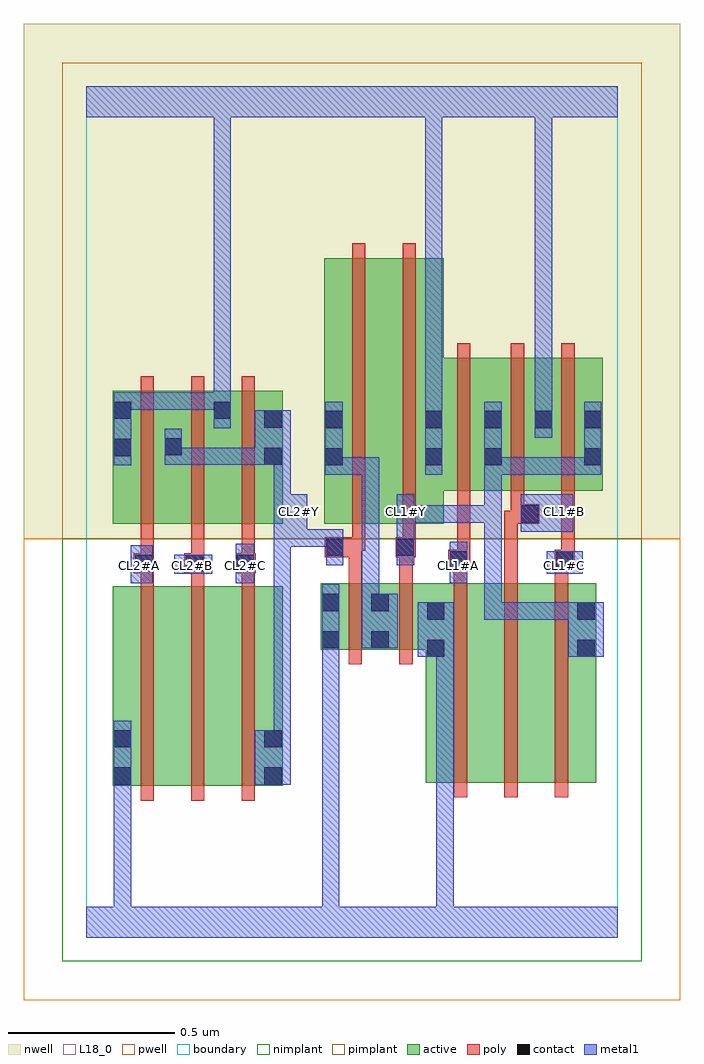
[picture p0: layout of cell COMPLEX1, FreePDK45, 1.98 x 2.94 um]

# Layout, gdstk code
import gdstk
lib = gdstk.Library(unit=1e-6, precision=1e-09)
def R(c, l, rs):  # rectangles x0, y0, x1, y1
    for r in rs: c.add(gdstk.rectangle(r[:2], r[2:], *l))
def A(c, l, x, y, w, h, nx, ny, dx, dy):  # array of equal rectangles
    R(c, l, [(x+i*dx, y+j*dy, x+i*dx+w, y+j*dy+h) for i in range(nx) for j in range(ny)])
active = (1, 0)
pwell = (2, 0)
nwell = (3, 0)
nimplant = (4, 0)
pimplant = (5, 0)
poly = (9, 0)
contact = (10, 0)
metal1 = (11, 0)
L18_0 = (18, 0)
boundary = (235, 0)

complex1 = lib.new_cell('COMPLEX1')
R(complex1, active, [(0.08,0.456,0.26,1.056), (0.08,0.456,0.14,1.056), (0.26,0.456,0.412,1.056), (0.412,0.456,0.592,1.056), (0.532,0.456,0.592,1.056), (1.022,0.466,1.202,1.066), (1.022,0.466,1.082,1.066), (1.202,0.466,1.354,1.066), (1.354,0.466,1.534,1.066), (1.474,0.556,1.534,1.066), (0.706,0.866,0.766,1.066), (0.706,0.866,0.914,1.066), (0.854,0.866,1.082,1.066), (0.854,0.866,0.914,1.066), (0.08,1.244,0.14,1.644), (0.08,1.244,0.292,1.644), (0.232,1.244,0.292,1.644), (0.232,1.244,0.44,1.644), (0.38,1.244,0.44,1.644), (0.38,1.244,0.592,1.644), (0.532,1.244,0.592,1.644), (0.716,1.244,0.896,2.044), (0.716,1.244,0.776,2.044), (0.896,1.244,1.076,2.044), (1.016,1.344,1.254,1.744), (1.016,1.344,1.076,1.8), (1.194,1.344,1.406,1.744), (1.346,1.344,1.554,1.744), (1.494,1.344,1.554,1.744), (1.194,1.394,1.254,1.744), (1.346,1.504,1.406,1.744)])
R(complex1, pwell, [(-0.188,-0.188,1.788,1.2)])
R(complex1, nwell, [(-0.188,1.2,1.788,2.748)])
R(complex1, nimplant, [(-0.072,-0.072,1.672,1.2)])
R(complex1, pimplant, [(-0.072,1.2,1.672,2.632)])
A(complex1, poly, 0.164, 0.412, 0.04, 0.688, 3, 1, 0.152, 0)
A(complex1, poly, 1.106, 0.422, 0.04, 0.688, 3, 1, 0.152, 0)
A(complex1, poly, 0.164, 1.06, 0.04, 0.076, 3, 1, 0.152, 0)
A(complex1, poly, 0.164, 1.116, 0.04, 0.124, 3, 1, 0.152, 0)
A(complex1, poly, 0.164, 1.2, 0.04, 0.488, 3, 1, 0.152, 0)
R(complex1, poly, [(0.79,0.822,0.83,1.11), (0.942,0.822,0.982,1.11), (0.79,1.07,0.83,1.184), (0.942,1.07,0.982,1.184), (1.106,1.07,1.146,1.146), (1.258,1.07,1.298,1.284), (1.41,1.07,1.45,1.146), (0.144,1.096,0.204,1.156), (0.296,1.096,0.356,1.156), (0.316,1.096,0.356,1.136), (0.316,1.096,0.356,1.136), (0.45,1.096,0.51,1.156), (0.468,1.096,0.508,1.136), (0.468,1.096,0.508,1.136), (1.09,1.106,1.15,1.166), (1.41,1.106,1.47,1.166), (0.164,1.116,0.204,1.156), (0.164,1.116,0.204,1.156), (1.11,1.126,1.15,1.166), (1.11,1.126,1.156,1.166), (1.116,1.126,1.156,1.34), (1.43,1.126,1.47,1.34), (1.43,1.126,1.47,1.166), (1.43,1.126,1.47,1.166), (0.718,1.144,0.83,1.204), (0.932,1.144,0.992,1.204), (0.942,1.144,0.982,1.184), (0.942,1.144,0.982,1.184), (0.79,1.164,0.83,1.204), (0.79,1.164,0.84,1.204), (0.8,1.164,0.84,1.24), (0.952,1.164,0.992,1.24), (0.8,1.2,0.84,2.088), (0.952,1.2,0.992,2.088), (1.258,1.244,1.318,1.284), (1.278,1.244,1.318,1.284), (1.278,1.244,1.364,1.304), (1.278,1.264,1.318,1.34), (1.116,1.3,1.156,1.788), (1.278,1.3,1.318,1.788), (1.43,1.3,1.47,1.788)])
R(complex1, contact, [(0.084,0.46,0.136,0.512), (0.536,0.46,0.588,0.512), (0.084,0.572,0.136,0.624), (0.536,0.572,0.588,0.624), (1.026,0.844,1.078,0.896), (1.478,0.844,1.53,0.896), (0.71,0.87,0.762,0.922), (0.858,0.87,0.91,0.922), (1.026,0.956,1.078,1.008), (1.478,0.956,1.53,1.008), (0.71,0.982,0.762,1.034), (0.858,0.982,0.91,1.034), (0.148,1.1,0.2,1.152), (0.3,1.1,0.352,1.152), (0.454,1.1,0.506,1.152), (1.094,1.11,1.146,1.162), (1.414,1.11,1.466,1.162), (0.722,1.148,0.774,1.2), (0.936,1.148,0.988,1.2), (1.308,1.248,1.36,1.3), (0.72,1.42,0.772,1.472), (1.02,1.42,1.072,1.472), (1.198,1.42,1.25,1.472), (1.498,1.42,1.55,1.472), (0.536,1.422,0.588,1.474), (0.084,1.448,0.136,1.5), (0.236,1.45,0.288,1.502), (0.72,1.532,0.772,1.584), (1.02,1.532,1.072,1.584), (1.198,1.532,1.25,1.584), (1.35,1.532,1.402,1.584), (1.498,1.532,1.55,1.584), (0.536,1.534,0.588,1.586), (0.084,1.56,0.136,1.612), (0.384,1.56,0.436,1.612)])
R(complex1, metal1, [(0,0,1.6,0.092), (0.084,0.04,0.136,0.092), (0.084,0.04,0.136,0.092), (0.084,0.04,0.136,0.092), (0.084,0.04,0.136,0.092), (0.084,0.04,0.136,0.484), (0.71,0.04,0.762,0.092), (0.71,0.04,0.762,0.092), (0.71,0.04,0.762,0.092), (0.71,0.04,0.762,0.092), (0.71,0.04,0.762,0.092), (0.71,0.04,0.762,0.092), (0.71,0.04,0.762,0.092), (0.71,0.04,0.762,0.092), (0.71,0.04,0.762,0.092), (0.71,0.04,0.762,0.092), (0.71,0.04,0.762,0.092), (0.71,0.04,0.762,0.092), (0.71,0.04,0.762,0.894), (1.054,0.04,1.106,0.092), (1.054,0.04,1.106,0.092), (1.054,0.04,1.106,0.092), (1.054,0.04,1.106,0.092), (1.054,0.04,1.106,0.092), (1.054,0.04,1.106,0.092), (1.054,0.04,1.106,0.896), (0.084,0.432,0.136,0.484), (0.084,0.432,0.136,0.484), (0.084,0.432,0.136,0.484), (0.084,0.432,0.136,0.484), (0.084,0.432,0.136,0.652), (0.508,0.46,0.616,0.624), (0.564,0.572,0.616,1.228), (0.71,0.842,0.762,0.894), (0.71,0.842,0.762,0.894), (0.71,0.842,0.762,0.894), (0.71,0.842,0.762,0.894), (0.71,0.842,0.762,1.062), (0.998,0.844,1.106,1.008), (1.054,0.844,1.106,0.896), (1.054,0.844,1.106,0.896), (1.45,0.844,1.558,1.008), (0.83,0.87,0.938,1.034), (1.198,0.956,1.25,1.008), (1.198,0.956,1.256,1.008), (1.198,0.956,1.25,1.3), (1.204,0.956,1.256,1.008), (1.204,0.956,1.366,1.008), (1.314,0.956,1.366,1.008), (1.314,0.956,1.366,1.008), (1.314,0.956,1.366,1.008), (1.314,0.956,1.502,1.008), (0.83,0.982,0.882,1.034), (0.83,0.982,0.882,1.034), (0.83,0.982,0.882,1.444), (0.134,1.066,0.2,1.18), (0.45,1.066,0.506,1.184), (1.094,1.066,1.146,1.19), (0.266,1.094,0.38,1.152), (1.386,1.094,1.494,1.162), (0.722,1.12,0.774,1.228), (0.934,1.12,0.988,1.334), (0.564,1.176,0.666,1.334), (0.614,1.176,0.666,1.228), (0.614,1.176,0.666,1.228), (0.614,1.176,0.774,1.228), (1.308,1.22,1.466,1.334), (0.936,1.248,1.14,1.3), (1.088,1.248,1.14,1.3), (1.088,1.248,1.14,1.3), (1.088,1.248,1.14,1.3), (1.088,1.248,1.25,1.3), (1.198,1.248,1.25,1.3), (1.198,1.248,1.25,1.3), (1.198,1.248,1.25,1.3), (1.198,1.248,1.25,1.444), (0.564,1.282,0.616,1.334), (0.564,1.282,0.616,1.334), (0.564,1.282,0.616,1.474), (0.72,1.392,0.772,1.444), (0.72,1.392,0.772,1.444), (0.72,1.392,0.772,1.612), (0.72,1.392,0.776,1.444), (0.724,1.392,0.776,1.444), (0.724,1.392,0.882,1.444), (0.83,1.392,0.882,1.444), (1.02,1.392,1.072,1.612), (1.198,1.392,1.25,1.612), (1.198,1.392,1.256,1.444), (1.204,1.392,1.256,1.444), (1.204,1.392,1.392,1.444), (1.34,1.392,1.392,1.444), (1.34,1.392,1.55,1.444), (1.498,1.392,1.55,1.444), (1.498,1.392,1.55,1.444), (1.498,1.392,1.55,1.612), (0.084,1.42,0.136,1.64), (0.236,1.422,0.288,1.474), (0.236,1.422,0.288,1.474), (0.236,1.422,0.288,1.53), (0.236,1.422,0.398,1.474), (0.346,1.422,0.398,1.474), (0.346,1.422,0.398,1.474), (0.346,1.422,0.398,1.474), (0.346,1.422,0.56,1.474), (0.508,1.422,0.616,1.586), (1.35,1.504,1.402,1.612), (0.384,1.532,0.436,1.64), (1.02,1.56,1.072,2.52), (1.35,1.56,1.402,1.612), (1.35,1.56,1.402,1.612), (1.35,1.56,1.402,2.52), (0.084,1.588,0.136,1.64), (0.084,1.588,0.136,1.64), (0.084,1.588,0.246,1.64), (0.194,1.588,0.246,1.64), (0.194,1.588,0.246,1.64), (0.194,1.588,0.246,1.64), (0.194,1.588,0.436,1.64), (0.384,1.588,0.436,1.64), (0.384,1.588,0.436,1.64), (0.384,1.588,0.436,1.64), (0.384,1.588,0.436,1.64), (0.384,1.588,0.436,1.64), (0.384,1.588,0.436,1.64), (0.384,1.588,0.436,1.64), (0.384,1.588,0.436,1.64), (0.384,1.588,0.436,1.64), (0.384,1.588,0.436,1.64), (0.384,1.588,0.436,1.64), (0.384,1.588,0.436,1.64), (0.384,1.588,0.436,2.52), (0,2.468,1.6,2.56), (0.384,2.468,0.436,2.52), (0.384,2.468,0.436,2.52), (0.384,2.468,0.436,2.52), (0.384,2.468,0.436,2.52), (1.02,2.468,1.072,2.52), (1.02,2.468,1.072,2.52), (1.02,2.468,1.072,2.52), (1.02,2.468,1.072,2.52), (1.02,2.468,1.072,2.52), (1.02,2.468,1.072,2.52), (1.02,2.468,1.072,2.52), (1.02,2.468,1.072,2.52), (1.35,2.468,1.402,2.52), (1.35,2.468,1.402,2.52), (1.35,2.468,1.402,2.52), (1.35,2.468,1.402,2.52), (1.35,2.468,1.402,2.52), (1.35,2.468,1.402,2.52), (1.35,2.468,1.402,2.52), (1.35,2.468,1.402,2.52), (1.35,2.468,1.402,2.52), (1.35,2.468,1.402,2.52), (1.35,2.468,1.402,2.52), (1.35,2.468,1.402,2.52), (1.35,2.468,1.402,2.52), (1.35,2.468,1.402,2.52)])
A(complex1, L18_0, 0.134, 1.094, 0.052, 0.052, 3, 1, 0.16, 0)
R(complex1, L18_0, [(0,0,1.6,0.092), (0.084,0.04,0.136,0.092), (0.084,0.04,0.136,0.092), (0.084,0.04,0.136,0.092), (0.084,0.04,0.136,0.092), (0.084,0.04,0.136,0.484), (0.71,0.04,0.762,0.092), (0.71,0.04,0.762,0.092), (0.71,0.04,0.762,0.092), (0.71,0.04,0.762,0.092), (0.71,0.04,0.762,0.092), (0.71,0.04,0.762,0.092), (0.71,0.04,0.762,0.092), (0.71,0.04,0.762,0.092), (0.71,0.04,0.762,0.092), (0.71,0.04,0.762,0.092), (0.71,0.04,0.762,0.092), (0.71,0.04,0.762,0.092), (0.71,0.04,0.762,0.894), (1.054,0.04,1.106,0.092), (1.054,0.04,1.106,0.092), (1.054,0.04,1.106,0.092), (1.054,0.04,1.106,0.092), (1.054,0.04,1.106,0.092), (1.054,0.04,1.106,0.092), (1.054,0.04,1.106,0.896), (0.084,0.432,0.136,0.484), (0.084,0.432,0.136,0.484), (0.084,0.432,0.136,0.484), (0.084,0.432,0.136,0.484), (0.084,0.432,0.136,0.652), (0.508,0.46,0.616,0.624), (0.564,0.572,0.616,1.228), (0.71,0.842,0.762,0.894), (0.71,0.842,0.762,0.894), (0.71,0.842,0.762,0.894), (0.71,0.842,0.762,0.894), (0.71,0.842,0.762,1.062), (0.998,0.844,1.106,1.008), (1.054,0.844,1.106,0.896), (1.054,0.844,1.106,0.896), (1.45,0.844,1.558,1.008), (1.198,0.956,1.25,1.008), (1.198,0.956,1.25,1.3), (1.198,0.956,1.256,1.008), (1.204,0.956,1.256,1.008), (1.204,0.956,1.366,1.008), (1.314,0.956,1.366,1.008), (1.314,0.956,1.366,1.008), (1.314,0.956,1.366,1.008), (1.314,0.956,1.502,1.008), (0.134,1.066,0.2,1.18), (0.45,1.066,0.506,1.184), (1.094,1.066,1.146,1.19), (0.266,1.094,0.38,1.152), (1.094,1.094,1.146,1.146), (1.386,1.094,1.494,1.162), (1.414,1.094,1.466,1.146), (0.722,1.12,0.774,1.228), (0.934,1.12,0.988,1.334), (0.564,1.176,0.666,1.334), (0.614,1.176,0.666,1.228), (0.614,1.176,0.666,1.228), (0.614,1.176,0.774,1.228), (1.308,1.22,1.466,1.334), (0.936,1.248,1.14,1.3), (1.088,1.248,1.14,1.3), (1.088,1.248,1.14,1.3), (1.088,1.248,1.14,1.3), (1.088,1.248,1.25,1.3), (1.198,1.248,1.25,1.3), (1.198,1.248,1.25,1.3), (1.198,1.248,1.25,1.3), (1.198,1.248,1.25,1.444), (0.614,1.254,0.666,1.306), (0.934,1.254,0.986,1.306), (1.414,1.254,1.466,1.306), (0.564,1.282,0.616,1.334), (0.564,1.282,0.616,1.334), (0.564,1.282,0.616,1.474), (1.02,1.392,1.072,1.612), (1.198,1.392,1.25,1.612), (1.198,1.392,1.256,1.444), (1.204,1.392,1.256,1.444), (1.204,1.392,1.392,1.444), (1.34,1.392,1.392,1.444), (1.34,1.392,1.55,1.444), (1.498,1.392,1.55,1.444), (1.498,1.392,1.55,1.444), (1.498,1.392,1.55,1.612), (0.084,1.42,0.136,1.64), (0.236,1.422,0.288,1.474), (0.236,1.422,0.288,1.474), (0.236,1.422,0.288,1.53), (0.236,1.422,0.398,1.474), (0.346,1.422,0.398,1.474), (0.346,1.422,0.398,1.474), (0.346,1.422,0.398,1.474), (0.346,1.422,0.56,1.474), (0.508,1.422,0.616,1.586), (1.35,1.504,1.402,1.612), (0.384,1.532,0.436,1.64), (1.02,1.56,1.072,2.52), (1.35,1.56,1.402,1.612), (1.35,1.56,1.402,1.612), (1.35,1.56,1.402,2.52), (0.084,1.588,0.136,1.64), (0.084,1.588,0.136,1.64), (0.084,1.588,0.246,1.64), (0.194,1.588,0.246,1.64), (0.194,1.588,0.246,1.64), (0.194,1.588,0.246,1.64), (0.194,1.588,0.436,1.64), (0.384,1.588,0.436,1.64), (0.384,1.588,0.436,1.64), (0.384,1.588,0.436,1.64), (0.384,1.588,0.436,1.64), (0.384,1.588,0.436,1.64), (0.384,1.588,0.436,1.64), (0.384,1.588,0.436,1.64), (0.384,1.588,0.436,1.64), (0.384,1.588,0.436,1.64), (0.384,1.588,0.436,1.64), (0.384,1.588,0.436,1.64), (0.384,1.588,0.436,1.64), (0.384,1.588,0.436,2.52), (0,2.468,1.6,2.56), (0.384,2.468,0.436,2.52), (0.384,2.468,0.436,2.52), (0.384,2.468,0.436,2.52), (0.384,2.468,0.436,2.52), (1.02,2.468,1.072,2.52), (1.02,2.468,1.072,2.52), (1.02,2.468,1.072,2.52), (1.02,2.468,1.072,2.52), (1.02,2.468,1.072,2.52), (1.02,2.468,1.072,2.52), (1.02,2.468,1.072,2.52), (1.02,2.468,1.072,2.52), (1.35,2.468,1.402,2.52), (1.35,2.468,1.402,2.52), (1.35,2.468,1.402,2.52), (1.35,2.468,1.402,2.52), (1.35,2.468,1.402,2.52), (1.35,2.468,1.402,2.52), (1.35,2.468,1.402,2.52), (1.35,2.468,1.402,2.52), (1.35,2.468,1.402,2.52), (1.35,2.468,1.402,2.52), (1.35,2.468,1.402,2.52), (1.35,2.468,1.402,2.52), (1.35,2.468,1.402,2.52), (1.35,2.468,1.402,2.52)])
R(complex1, boundary, [(0,0,1.6,2.56)])
complex1.add(gdstk.Label('CL1#A', (1.12,1.12), layer=11, texttype=0))
complex1.add(gdstk.Label('CL1#B', (1.44,1.28), layer=11, texttype=0))
complex1.add(gdstk.Label('CL1#C', (1.44,1.12), layer=11, texttype=0))
complex1.add(gdstk.Label('CL1#Y', (0.96,1.28), layer=11, texttype=0))
complex1.add(gdstk.Label('CL2#A', (0.16,1.12), layer=11, texttype=0))
complex1.add(gdstk.Label('CL2#B', (0.32,1.12), layer=11, texttype=0))
complex1.add(gdstk.Label('CL2#C', (0.48,1.12), layer=11, texttype=0))
complex1.add(gdstk.Label('CL2#Y', (0.64,1.28), layer=11, texttype=0))

lib.write_gds('COMPLEX1.gds')
